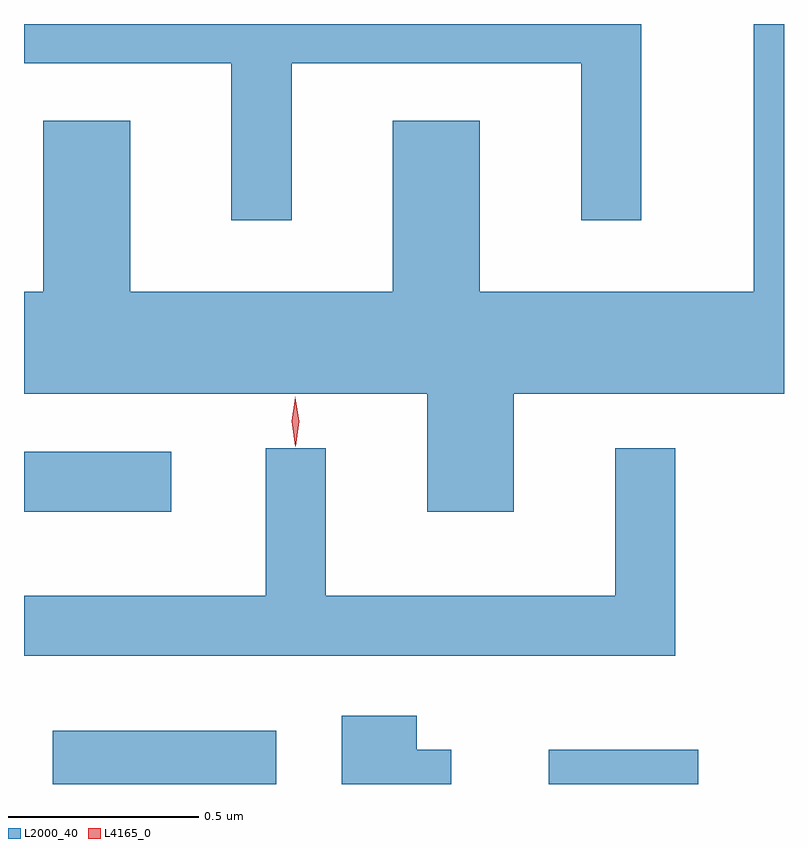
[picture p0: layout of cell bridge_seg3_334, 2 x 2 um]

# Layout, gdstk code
import gdstk
lib = gdstk.Library(unit=1e-6, precision=1e-09)
def R(c, l, rs):  # rectangles x0, y0, x1, y1
    for r in rs: c.add(gdstk.rectangle(r[:2], r[2:], *l))
def P(c, l, *ps):  # polygons
    for p in ps: c.add(gdstk.Polygon(p, *l))
L2000_40 = (2000, 40)
L4165_0 = (4165, 0)

bridge_seg3_334 = lib.new_cell('bridge_seg3_334')
R(bridge_seg3_334, L2000_40, [(617.466,1242.649,618.054,1242.789), (618.771,1242.649,619.164,1242.739), (617.39,1243.366,617.778,1243.524)])
P(bridge_seg3_334, L2000_40, [(618.679,1243.676),(619.39,1243.676),(619.39,1244.649),(619.311,1244.649),(619.311,1243.944),(618.589,1243.944),(618.589,1244.394),(618.361,1244.394),(618.361,1243.944),(617.669,1243.944),(617.669,1244.394),(617.441,1244.394),(617.441,1243.944),(617.39,1243.944),(617.39,1243.676),(618.451,1243.676),(618.451,1243.366),(618.679,1243.366)],
  [(618.094,1244.546),(618.856,1244.546),(618.856,1244.133),(619.014,1244.133),(619.014,1244.649),(617.39,1244.649),(617.39,1244.546),(617.936,1244.546),(617.936,1244.133),(618.094,1244.133)],
  [(619.104,1243.533),(618.946,1243.533),(618.946,1243.144),(618.184,1243.144),(618.184,1243.533),(618.026,1243.533),(618.026,1243.144),(617.39,1243.144),(617.39,1242.986),(619.104,1242.986)],
  [(618.514,1242.739),(618.424,1242.739),(618.424,1242.829),(618.226,1242.829),(618.226,1242.649),(618.514,1242.649)])
P(bridge_seg3_334, L4165_0, [(618.104,1243.538),(618.104,1243.538),(618.094,1243.603),(618.104,1243.667),(618.104,1243.668),(618.104,1243.667),(618.114,1243.603),(618.105,1243.538)])

lib.write_gds('bridge_seg3_334.gds')
